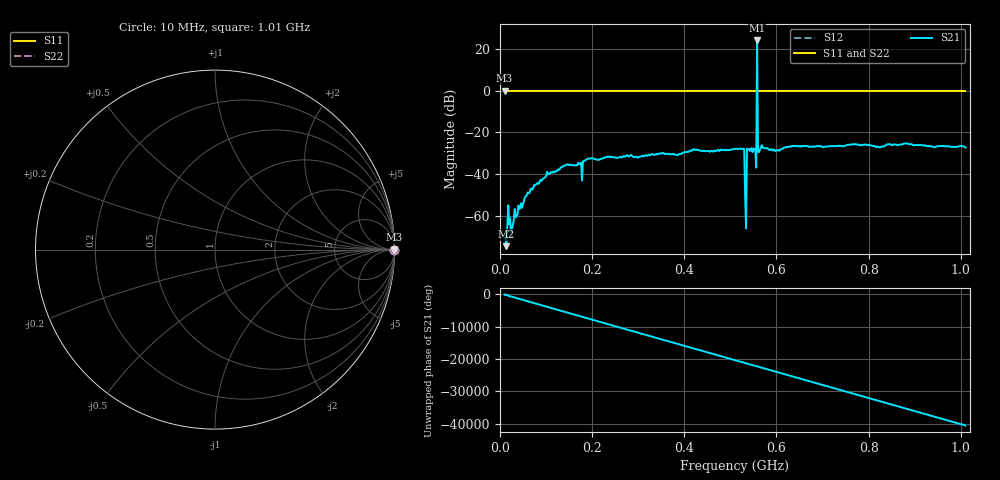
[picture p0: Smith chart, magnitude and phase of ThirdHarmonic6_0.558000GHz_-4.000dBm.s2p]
! 8/15/2025 5:45:01 PM
! C:\ANRITSUVNA\TEMP\TEMP.S2P
! CHANNEL.1
! TR.MEASUREMENT
! RAW.DATA
! RF.CORRECTION.OFF
! AVERAGING.OFF
! IF.BANDWIDTH: 5KHZ
! SWEEPTYPE:  FREQ.SWEEP(Linear)
! Reference Plane Port Info
! PORT:  PORT1  PORT2
! DISTANCE:  0  m  0  m
! TIME:  0  s  0  s
! PHASE.OFFSET:  0  deg.  0  deg.
! LOSS:  0  dB  0  dB
! REF.LOSS:  0  dB  0  dB
! REF.FREQ:  0  Hz  0  Hz
! Power Info
! POWER:  -20  dBm  -20  dBm
! EFF.POWER:  -20  dBm  -20  dBm
! SOURCE.ATTEN:  0  dB  0  dB
! TEST.ATTEN:  0  dB  0  dB
# GHZ S RI R 50.0
! FREQ.GHZ  S11RE  S11IM  S21RE  S21IM  S12RE  S12IM  S22RE  S22IM
!; PortSelection: Port_12
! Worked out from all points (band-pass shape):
!   501 points, 10 MHz to 1.01 GHz, reference 50 ohm
!   highest |S21| = 24.10 dB at 558 MHz (marker M1); lowest = -74.5 dB at 14 MHz (marker M2)
!   |S21| within 3 dB of the highest: 557.9016 MHz to 558.1123 MHz (210.8 kHz wide, 0.0378 % of centre)
!   lowest |S11| = 0.0 dB at 10 MHz (marker M3)
!   |S11| at or under -10 dB: nowhere
!   |S22| runs from 0.0 to 0.0 dB; largest |S21 - S12| = 16
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0.01  1 0  -0.000251 -0.000135  1 0  1 0
0.014  1 0  -0.000169 8.22e-05  1 0  1 0
0.02  1 0  3.97e-05 0.000628  1 0  1 0
0.026  1 0  -0.000288 -0.000406  1 0  1 0
0.058  1 0  0.00281 0.0013  1 0  1 0
0.102  1 0  0.00997 0.00557  1 0  1 0
0.178  1 0  -0.00571 -0.00412  1 0  1 0
0.194  1 0  -0.00474 -0.023  1 0  1 0
0.344  1 0  0.0287 -0.00944  1 0  1 0
0.51  1 0  -0.0353 0.0194  1 0  1 0
0.526  1 0  -0.0277 -0.0297  1 0  1 0
0.53  1 0  0.0159 0.0365  1 0  1 0
0.536  1 0  -0.0403 -0.00288  1 0  1 0
0.54  1 0  0.0373 0.0151  1 0  1 0
0.552  1 0  -0.00443 -0.0385  1 0  1 0
0.554  1 0  -0.0404 -0.00248  1 0  1 0
0.558  1 0  2.004 15.9  1 0  1 0
0.562  1 0  -0.0252 -0.0225  1 0  1 0
0.564  1 0  -0.0327 0.021  1 0  1 0
0.678  1 0  -0.0257 -0.0371  1 0  1 0
0.844  1 0  0.0434 0.0292  1 0  1 0
1.01  1 0  -0.0434 -0.0032  1 0  1 0
